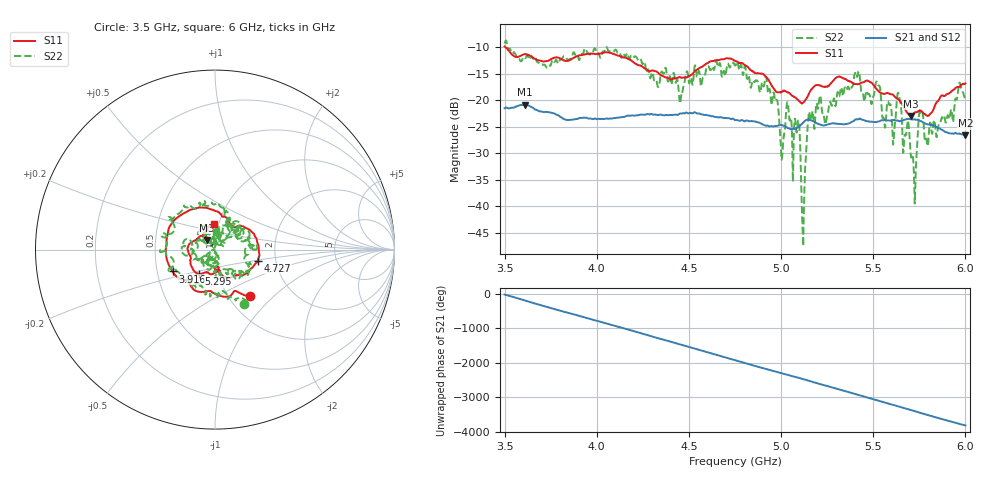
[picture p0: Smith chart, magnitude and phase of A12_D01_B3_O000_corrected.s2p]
! Created with skrf 1.9.0 (http://scikit-rf.org).
# Hz S RI R 50.0
!freq ReS11 ImS11 ReS21 ImS21 ReS12 ImS12 ReS22 ImS22
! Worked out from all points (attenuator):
!   1601 points, 3.5 GHz to 6 GHz, reference 50 ohm
!   highest |S21| = -20.85 dB at 3.609 GHz (marker M1); lowest = -26.6 dB at 6 GHz (marker M2)
!   lowest |S11| = -23.0 dB at 5.703 GHz (marker M3), VSWR 1.15, Z = 45.3 + j4.9 ohm
!   |S11| at or under -10 dB: 3.505 GHz to end of sweep
!   |S22| runs from -47.5 to -8.7 dB; largest |S21 - S12| = 0.0013
!   S11 on the Smith chart (normalised r, x): 3.5 GHz: 1.25, -0.72; 3.916 GHz: 0.60, -0.16; 4.727 GHz: 1.61, -0.21; 5.295 GHz: 0.81, -0.22; 6 GHz: 0.95, +0.28
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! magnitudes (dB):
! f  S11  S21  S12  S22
! 3.5 GHz  -9.9  -21.5  -21.5  -9.3
! 3.609 GHz  -11.3  -20.9  -20.9  -12.0
! 3.916 GHz  -11.5  -23.3  -23.3  -11.4
! 3.917 GHz  -11.5  -23.3  -23.3  -11.3
! 4.334 GHz  -14.9  -22.8  -22.7  -17.5
! 4.727 GHz  -12.1  -23.5  -23.4  -13.5
! 4.75 GHz  -12.6  -23.7  -23.7  -13.4
! 4.969 GHz  -18.2  -24.9  -24.8  -20.1
! 5.006 GHz  -18.4  -24.7  -24.7  -30.4
! 5.036 GHz  -18.5  -25.3  -25.2  -20.4
! 5.088 GHz  -19.8  -25.2  -25.2  -25.2
! 5.119 GHz  -20.5  -24.3  -24.2  -46.0
! 5.145 GHz  -19.2  -23.6  -23.6  -24.3
! 5.167 GHz  -17.8  -23.8  -23.8  -22.5
! 5.295 GHz  -15.8  -24.4  -24.4  -21.1
! 5.412 GHz  -17.0  -23.6  -23.6  -15.6
! 5.584 GHz  -18.7  -23.8  -23.8  -20.6
! 5.703 GHz  -23.0  -23.6  -23.6  -30.1
! 5.723 GHz  -22.3  -23.6  -23.6  -37.7
! 5.758 GHz  -21.9  -23.9  -23.9  -22.5
! 5.789 GHz  -22.9  -24.5  -24.4  -27.4
! 6 GHz  -16.8  -26.6  -26.5  -20.0
